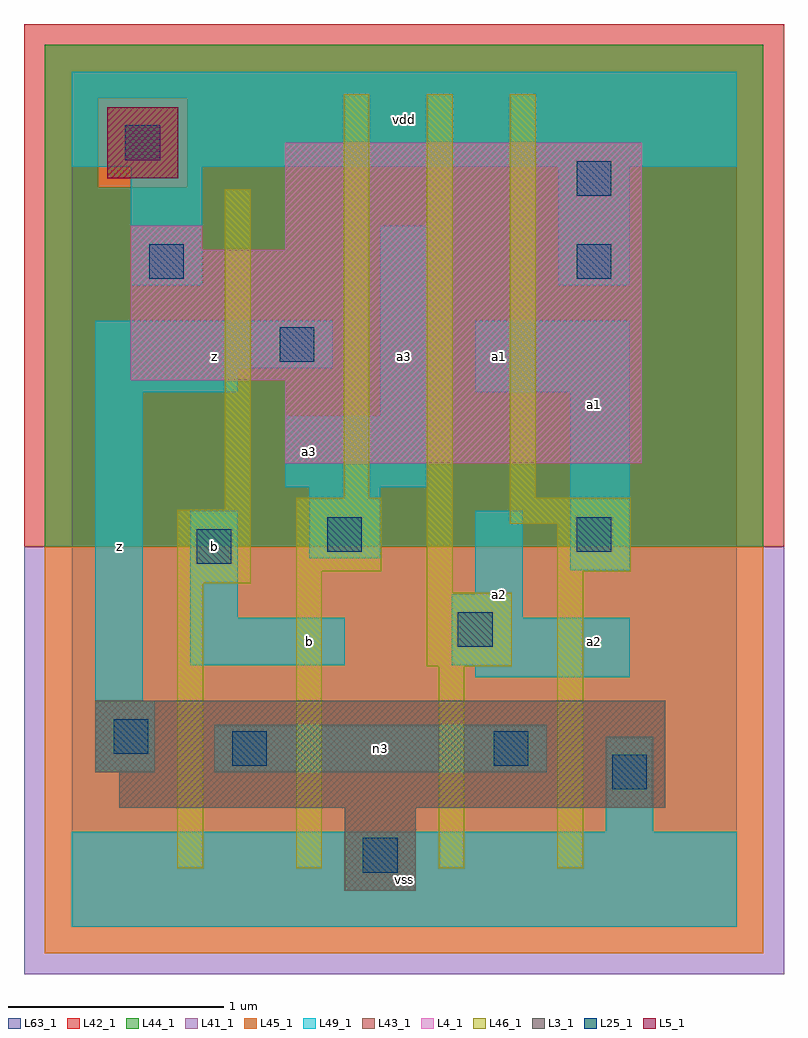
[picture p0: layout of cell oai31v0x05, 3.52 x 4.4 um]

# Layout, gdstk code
import gdstk
lib = gdstk.Library(unit=1e-6, precision=1e-09)
def R(c, l, rs):  # rectangles x0, y0, x1, y1
    for r in rs: c.add(gdstk.rectangle(r[:2], r[2:], *l))
L3_1 = (3, 1)
L4_1 = (4, 1)
L5_1 = (5, 1)
L25_1 = (25, 1)
L41_1 = (41, 1)
L42_1 = (42, 1)
L43_1 = (43, 1)
L44_1 = (44, 1)
L45_1 = (45, 1)
L46_1 = (46, 1)
L49_1 = (49, 1)
L63_1 = (63, 1)

oai31v0x05 = lib.new_cell('oai31v0x05')
R(oai31v0x05, L3_1, [(1.265,0.165,1.595,0.55), (0.22,0.55,2.75,0.715), (0.11,0.715,2.75,1.045)])
R(oai31v0x05, L4_1, [(0.99,2.145,2.64,2.53), (0.275,2.53,2.64,3.135), (0.275,3.135,0.605,3.245), (0.99,3.135,2.64,3.63)])
R(oai31v0x05, L5_1, [(0.165,3.465,0.495,3.795)])
R(oai31v0x05, L25_1, [(1.35,0.25,1.51,0.41), (2.505,0.635,2.665,0.795), (0.745,0.745,0.905,0.905), (1.955,0.745,2.115,0.905), (0.195,0.8,0.355,0.96), (1.79,1.295,1.95,1.455), (0.58,1.68,0.74,1.84), (1.185,1.735,1.345,1.895), (2.34,1.735,2.5,1.895), (0.965,2.615,1.125,2.775), (0.36,3,0.52,3.16), (2.34,3,2.5,3.16), (2.34,3.385,2.5,3.545), (0.25,3.55,0.41,3.71)])
R(oai31v0x05, L41_1, [(-0.22,-0.22,3.3,1.76)])
R(oai31v0x05, L42_1, [(-0.22,1.76,3.3,4.18)])
R(oai31v0x05, L43_1, [(1.265,0.165,1.595,0.55), (0.22,0.55,2.75,0.715), (0.11,0.715,2.75,1.045), (0.99,2.145,2.64,2.53), (0.275,2.53,2.64,3.135), (0.275,3.135,0.605,3.245), (0.99,3.135,2.64,3.63), (0.165,3.465,0.495,3.795)])
R(oai31v0x05, L44_1, [(-0.125,1.76,3.205,3.425), (-0.125,3.425,0.125,3.835), (0.535,3.425,3.205,3.835), (-0.125,3.835,3.205,4.085)])
R(oai31v0x05, L45_1, [(-0.125,-0.125,3.205,1.76), (0.125,3.425,0.535,3.835)])
R(oai31v0x05, L46_1, [(0.49,0.27,0.61,1.59), (1.04,0.27,1.16,1.645), (1.7,0.27,1.82,1.205), (2.25,0.27,2.37,1.645), (1.645,1.205,2.04,1.545), (1.645,1.545,1.765,3.855), (0.49,1.59,0.83,1.93), (1.04,1.645,1.435,1.985), (2.25,1.645,2.59,1.865), (2.03,1.865,2.59,1.985), (0.71,1.93,0.83,3.415), (1.26,1.985,1.38,3.855), (2.03,1.985,2.15,3.855)])
R(oai31v0x05, L49_1, [(0,0,3.08,0.44), (2.475,0.44,2.695,0.88), (0.11,0.715,0.385,1.045), (0.66,0.715,2.2,0.935), (0.11,1.045,0.33,2.475), (1.87,1.155,2.585,1.21), (0.55,1.21,1.265,1.43), (1.76,1.21,2.585,1.43), (0.55,1.43,0.77,1.925), (1.76,1.43,2.09,1.54), (1.87,1.54,2.09,1.925), (2.31,1.65,2.585,2.475), (1.1,1.705,1.43,2.035), (0.99,2.035,1.65,2.365), (1.43,2.365,1.65,3.245), (0.11,2.475,0.77,2.585), (1.87,2.475,2.585,2.805), (0.11,2.585,1.21,2.805), (0.275,2.97,0.605,3.52), (2.255,2.97,2.585,3.52), (0,3.52,3.08,3.96)])
R(oai31v0x05, L63_1, [(0,0,3.08,3.96)])
oai31v0x05.add(gdstk.Label('z', (0.22,1.76), layer=49, texttype=1))
oai31v0x05.add(gdstk.Label('b', (0.66,1.76), layer=49, texttype=1))
oai31v0x05.add(gdstk.Label('b', (1.1,1.32), layer=49, texttype=1))
oai31v0x05.add(gdstk.Label('a3', (1.1,2.2), layer=49, texttype=1))
oai31v0x05.add(gdstk.Label('z', (0.66,2.64), layer=49, texttype=1))
oai31v0x05.add(gdstk.Label('vss', (1.54,0.22), layer=49, texttype=1))
oai31v0x05.add(gdstk.Label('n3', (1.43,0.825), layer=49, texttype=1))
oai31v0x05.add(gdstk.Label('a2', (1.98,1.54), layer=49, texttype=1))
oai31v0x05.add(gdstk.Label('a3', (1.54,2.64), layer=49, texttype=1))
oai31v0x05.add(gdstk.Label('a1', (1.98,2.64), layer=49, texttype=1))
oai31v0x05.add(gdstk.Label('vdd', (1.54,3.74), layer=49, texttype=1))
oai31v0x05.add(gdstk.Label('a2', (2.42,1.32), layer=49, texttype=1))
oai31v0x05.add(gdstk.Label('a1', (2.42,2.42), layer=49, texttype=1))

lib.write_gds('oai31v0x05.gds')
